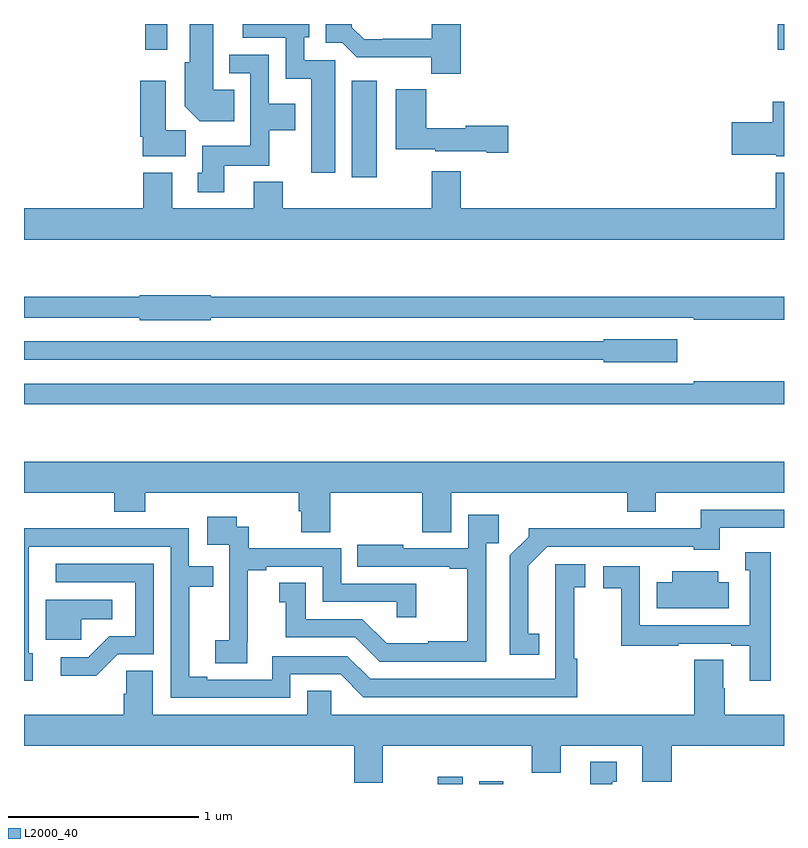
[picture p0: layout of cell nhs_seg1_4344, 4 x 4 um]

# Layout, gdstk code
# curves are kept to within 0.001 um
import gdstk
lib = gdstk.Library(unit=1e-6, precision=1e-09)
def R(c, l, rs):  # rectangles x0, y0, x1, y1
    for r in rs: c.add(gdstk.rectangle(r[:2], r[2:], *l))
def P(c, l, *ps):  # polygons
    for p in ps: c.add(gdstk.Polygon(p, *l))
L2000_40 = (2000, 40)

nhs_seg1_4344 = lib.new_cell('nhs_seg1_4344')
R(nhs_seg1_4344, L2000_40, [(349.178,550.199,349.309,550.237), (349.397,550.199,349.522,550.213), (348.725,553.392,348.856,553.9), (347.638,554.064,347.754,554.199), (350.968,554.064,351,554.199)])
P(nhs_seg1_4344, L2000_40, [(348.637,554.007),(348.474,554.007),(348.474,554.13),(348.502,554.13),(348.502,554.199),(348.15,554.199),(348.15,554.126),(348.378,554.126),(348.378,553.91),(348.512,553.91),(348.512,553.416),(348.637,553.416)],
  [(349.298,554.199),(349.145,554.199),(349.145,554.121),(348.889,554.121),(348.889,554.118),(348.79,554.118),(348.726,554.182),(348.726,554.197),(348.587,554.197),(348.587,554.1),(348.675,554.1),(348.751,554.024),(349.143,554.024),(349.143,553.937),(349.298,553.937)],
  [(348.107,553.852),(347.995,553.852),(347.995,554.199),(347.873,554.199),(347.873,553.998),(347.846,553.998),(347.846,553.766),(347.924,553.688),(348.107,553.688)],
  [(348.055,553.454),(348.291,553.454),(348.291,553.64),(348.427,553.64),(348.427,553.78),(348.288,553.78),(348.288,554.037),(348.08,554.037),(348.08,553.941),(348.192,553.941),(348.192,553.558),(347.939,553.558),(347.939,553.416),(347.915,553.416),(347.915,553.314),(348.055,553.314)],
  [(347.851,553.64),(347.746,553.64),(347.746,553.9),(347.612,553.9),(347.612,553.606),(347.624,553.606),(347.624,553.502),(347.851,553.502)],
  [(349.549,553.664),(349.326,553.664),(349.326,553.651),(349.118,553.651),(349.118,553.855),(348.956,553.855),(348.956,553.541),(349.164,553.541),(349.164,553.529),(349.436,553.529),(349.436,553.522),(349.549,553.522)],
  [(351,553.789),(350.942,553.789),(350.942,553.682),(350.724,553.682),(350.724,553.511),(350.958,553.511),(350.958,553.502),(351,553.502)],
  [(351,553.417),(350.957,553.417),(350.957,553.228),(349.298,553.228),(349.298,553.423),(349.145,553.423),(349.145,553.228),(348.362,553.228),(348.362,553.369),(348.209,553.369),(348.209,553.228),(347.779,553.228),(347.779,553.417),(347.627,553.417),(347.627,553.228),(347,553.228),(347,553.064),(351,553.064)],
  [(347.982,552.654),(350.524,552.654),(350.524,552.642),(351,552.642),(351,552.763),(347.982,552.763),(347.982,552.771),(347.61,552.771),(347.61,552.763),(347,552.763),(347,552.654),(347.61,552.654),(347.61,552.641),(347.982,552.641)],
  [(350.437,552.541),(350.052,552.541),(350.052,552.528),(347,552.528),(347,552.432),(350.052,552.432),(350.052,552.419),(350.437,552.419)],
  [(351,552.319),(350.524,552.319),(350.524,552.306),(347,552.306),(347,552.198),(351,552.198)],
  [(348.611,551.732),(349.097,551.732),(349.097,551.524),(349.249,551.524),(349.249,551.732),(350.174,551.732),(350.174,551.633),(350.326,551.633),(350.326,551.732),(351,551.732),(351,551.896),(347,551.896),(347,551.732),(347.474,551.732),(347.474,551.633),(347.639,551.633),(347.639,551.732),(348.446,551.732),(348.446,551.634),(348.458,551.634),(348.458,551.524),(348.611,551.524)],
  [(349.712,550.991),(349.654,550.991),(349.654,551.347),(349.755,551.448),(350.526,551.448),(350.526,551.432),(350.662,551.432),(350.662,551.547),(351,551.547),(351,551.643),(350.563,551.643),(350.563,551.544),(350.09,551.544),(350.09,551.546),(349.656,551.546),(349.656,551.501),(349.557,551.402),(349.557,550.878),(349.712,550.878)],
  [(349.434,551.465),(349.499,551.465),(349.499,551.617),(349.338,551.617),(349.338,551.439),(348.997,551.439),(348.997,551.458),(348.754,551.458),(348.754,551.343),(349.241,551.343),(349.241,551.331),(349.333,551.331),(349.333,550.951),(349.127,550.951),(349.127,550.939),(348.908,550.939),(348.78,551.067),(348.484,551.067),(348.484,551.258),(348.344,551.258),(348.344,551.155),(348.377,551.155),(348.377,550.971),(348.744,550.971),(348.873,550.842),(349.434,550.842)],
  [(348.176,550.945),(348.178,550.945),(348.178,551.323),(348.274,551.323),(348.274,551.343),(348.573,551.343),(348.573,551.157),(348.963,551.157),(348.963,551.076),(349.064,551.076),(349.064,551.253),(348.669,551.253),(348.669,551.439),(348.182,551.439),(348.182,551.553),(348.12,551.553),(348.12,551.605),(347.964,551.605),(347.964,551.457),(348.081,551.457),(348.081,551.153),(348.08,551.153),(348.08,550.956),(348.006,550.956),(348.006,550.834),(348.176,550.834)],
  [(348.402,550.776),(348.666,550.776),(348.786,550.656),(349.913,550.656),(349.913,550.859),(349.896,550.859),(349.896,551.235),(349.954,551.235),(349.954,551.356),(349.796,551.356),(349.797,550.752),(348.822,550.752),(348.702,550.872),(348.306,550.872),(348.306,550.749),(347.965,550.749),(347.965,550.764),(347.869,550.764),(347.869,551.238),(347.996,551.238),(347.996,551.346),(347.868,551.346),(347.868,551.544),(347.39,551.544),(347.39,551.546),(347,551.546),(347,550.743),(347.047,550.743),(347.047,550.887),(347.025,550.887),(347.025,551.448),(347.772,551.448),(347.772,550.653),(348.402,550.653)],
  [(350.929,551.419),(350.795,551.419),(350.795,551.325),(350.82,551.325),(350.82,551.034),(350.241,551.034),(350.241,551.346),(350.049,551.346),(350.049,551.23),(350.143,551.23),(350.143,550.926),(350.444,550.926),(350.444,550.938),(350.723,550.938),(350.723,550.926),(350.819,550.926),(350.819,550.743),(350.929,550.743)],
  [(347.493,550.881),(347.682,550.881),(347.682,551.358),(347.166,551.358),(347.166,551.262),(347.586,551.262),(347.586,550.977),(347.448,550.977),(347.337,550.866),(347.193,550.866),(347.193,550.769),(347.38,550.769)],
  [(350.71,551.26),(350.653,551.26),(350.653,551.32),(350.411,551.32),(350.411,551.26),(350.33,551.26),(350.33,551.123),(350.71,551.123)],
  [(347.301,551.066),(347.464,551.066),(347.464,551.17),(347.114,551.17),(347.114,550.959),(347.301,550.959)],
  [(348.889,550.4),(349.673,550.4),(349.673,550.259),(349.825,550.259),(349.825,550.4),(350.255,550.4),(350.255,550.211),(350.408,550.211),(350.408,550.4),(351,550.4),(351,550.564),(350.688,550.564),(350.688,550.703),(350.68,550.703),(350.68,550.853),(350.528,550.853),(350.528,550.564),(348.618,550.564),(348.618,550.691),(348.491,550.691),(348.491,550.564),(347.677,550.564),(347.677,550.796),(347.538,550.796),(347.538,550.673),(347.525,550.673),(347.525,550.564),(347,550.564),(347,550.4),(348.737,550.4),(348.737,550.206),(348.889,550.206)],
  [(350.095,550.212),(350.119,550.212),(350.119,550.315),(349.979,550.315),(349.979,550.199),(350.095,550.199)])

lib.write_gds('nhs_seg1_4344.gds')
